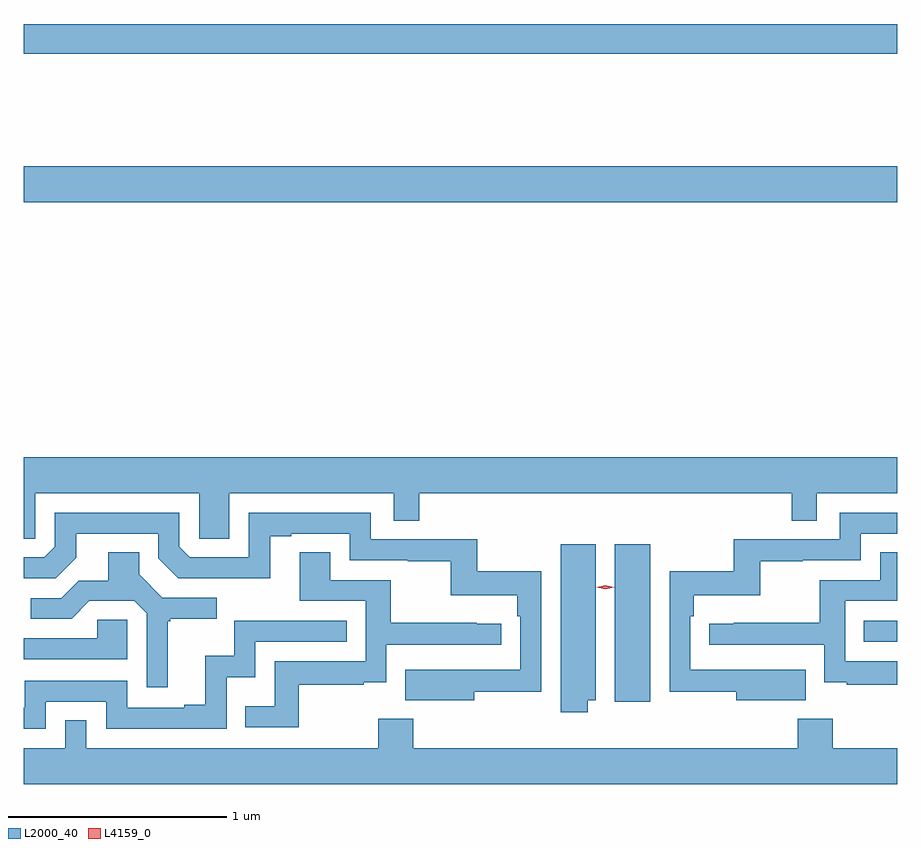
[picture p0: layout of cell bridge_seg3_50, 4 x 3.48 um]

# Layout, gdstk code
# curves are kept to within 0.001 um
import gdstk
lib = gdstk.Library(unit=1e-6, precision=1e-09)
def R(c, l, rs):  # rectangles x0, y0, x1, y1
    for r in rs: c.add(gdstk.rectangle(r[:2], r[2:], *l))
def P(c, l, *ps):  # polygons
    for p in ps: c.add(gdstk.Polygon(p, *l))
L2000_40 = (2000, 40)
L4159_0 = (4159, 0)

bridge_seg3_50 = lib.new_cell('bridge_seg3_50')
R(bridge_seg3_50, L2000_40, [(1103.306,673.32,1103.467,674.041), (1104.445,673.596,1104.599,673.692), (1100.599,675.608,1104.599,675.772), (1100.599,676.288,1104.599,676.424)])
P(bridge_seg3_50, L2000_40, [(1100.599,674.068),(1100.652,674.068),(1100.652,674.276),(1101.402,674.276),(1101.402,674.068),(1101.541,674.068),(1101.541,674.276),(1102.293,674.276),(1102.293,674.149),(1102.409,674.149),(1102.409,674.276),(1104.115,674.276),(1104.115,674.149),(1104.231,674.149),(1104.231,674.276),(1104.599,674.276),(1104.599,674.44),(1100.599,674.44)],
  [(1102.663,673.366),(1102.968,673.366),(1102.968,673.918),(1102.675,673.918),(1102.675,674.064),(1102.188,674.064),(1102.188,674.187),(1101.63,674.187),(1101.63,673.983),(1101.36,673.983),(1101.312,674.031),(1101.312,674.187),(1100.742,674.187),(1100.742,674.031),(1100.694,673.983),(1100.599,673.983),(1100.599,673.887),(1100.745,673.887),(1100.839,673.981),(1100.839,674.091),(1101.216,674.091),(1101.216,673.977),(1101.306,673.887),(1101.727,673.886),(1101.727,674.079),(1101.823,674.079),(1101.823,674.091),(1102.092,674.091),(1102.092,673.968),(1102.357,673.968),(1102.357,673.963),(1102.554,673.963),(1102.554,673.808),(1102.859,673.808),(1102.859,673.712),(1102.872,673.712),(1102.872,673.467),(1102.345,673.468),(1102.345,673.328),(1102.663,673.328)],
  [(1104.179,673.468),(1103.965,673.468),(1103.965,673.467),(1103.652,673.467),(1103.652,673.712),(1103.666,673.712),(1103.666,673.808),(1103.971,673.808),(1103.971,673.963),(1104.167,673.963),(1104.167,673.968),(1104.432,673.968),(1104.432,674.091),(1104.599,674.091),(1104.599,674.187),(1104.336,674.187),(1104.336,674.064),(1103.85,674.064),(1103.85,673.918),(1103.556,673.918),(1103.556,673.366),(1103.861,673.366),(1103.861,673.328),(1104.179,673.328)],
  [(1103.182,673.328),(1103.218,673.328),(1103.218,674.041),(1103.057,674.041),(1103.057,673.272),(1103.182,673.272)],
  [(1101.859,673.398),(1102.157,673.398),(1102.157,673.409),(1102.26,673.409),(1102.26,673.581),(1102.786,673.581),(1102.786,673.677),(1102.673,673.677),(1102.673,673.682),(1102.28,673.682),(1102.28,673.878),(1102.003,673.878),(1102.003,674.006),(1101.863,674.006),(1101.863,673.782),(1102.164,673.782),(1102.164,673.506),(1101.748,673.506),(1101.748,673.3),(1101.613,673.3),(1101.613,673.203),(1101.859,673.203)],
  [(1104.599,673.506),(1104.36,673.506),(1104.36,673.782),(1104.599,673.782),(1104.599,674.006),(1104.521,674.006),(1104.521,673.878),(1104.244,673.878),(1104.244,673.682),(1103.851,673.682),(1103.851,673.677),(1103.739,673.677),(1103.739,673.581),(1104.264,673.581),(1104.264,673.409),(1104.367,673.409),(1104.367,673.398),(1104.599,673.398)],
  [(1101.259,673.689),(1101.271,673.689),(1101.271,673.7),(1101.484,673.7),(1101.484,673.797),(1101.234,673.797),(1101.127,673.904),(1101.127,674.006),(1100.987,674.006),(1100.987,673.874),(1100.852,673.874),(1100.772,673.794),(1100.631,673.794),(1100.631,673.701),(1100.818,673.701),(1100.899,673.782),(1101.105,673.782),(1101.162,673.725),(1101.162,673.386),(1101.259,673.386)],
  [(1101.072,673.695),(1100.935,673.695),(1100.935,673.611),(1100.599,673.611),(1100.599,673.515),(1101.072,673.515)],
  [(1100.7,673.32),(1100.976,673.32),(1100.976,673.197),(1101.528,673.197),(1101.528,673.433),(1101.66,673.433),(1101.66,673.596),(1102.079,673.596),(1102.079,673.692),(1101.564,673.692),(1101.564,673.531),(1101.431,673.531),(1101.431,673.306),(1101.335,673.306),(1101.335,673.293),(1101.072,673.293),(1101.072,673.416),(1100.604,673.416),(1100.604,673.293),(1100.599,673.293),(1100.599,673.197),(1100.7,673.197)],
  [(1104.599,673.108),(1104.303,673.108),(1104.303,673.243),(1104.143,673.243),(1104.143,673.108),(1102.382,673.108),(1102.382,673.243),(1102.222,673.243),(1102.222,673.108),(1100.886,673.108),(1100.886,673.235),(1100.79,673.235),(1100.79,673.108),(1100.599,673.108),(1100.599,672.944),(1104.599,672.944)])
P(bridge_seg3_50, L4159_0, [(1103.262,673.836),(1103.222,673.845),(1103.222,673.845),(1103.222,673.846),(1103.262,673.855),(1103.302,673.846),(1103.302,673.845),(1103.302,673.845)])

lib.write_gds('bridge_seg3_50.gds')
